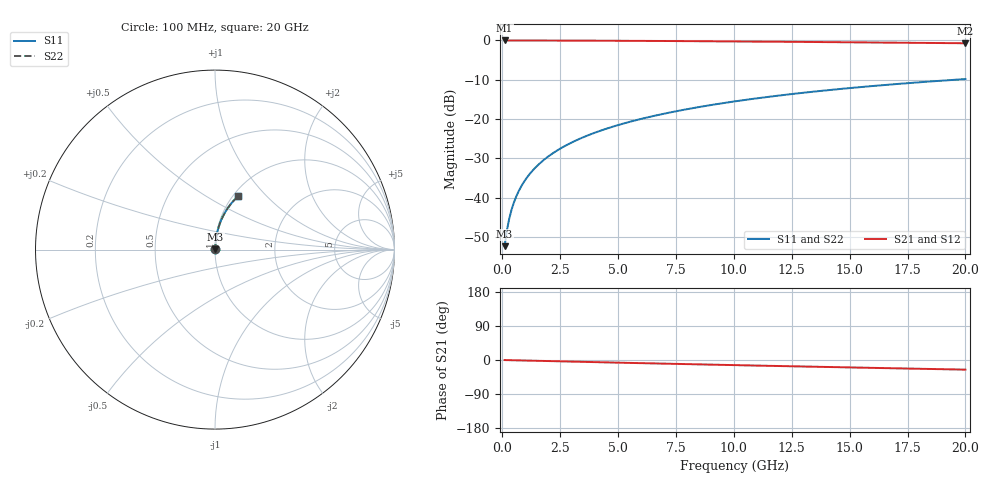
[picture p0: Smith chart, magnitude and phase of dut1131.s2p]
! Touchstone file exported from HFSS 2024.1.0
!  File:  C:/UserFiles/LocalFiles/RDL_TSV_Batchsim/temp_RDL_bottom_1131_1780055253.aedt
!  Generated:  07:50:07 PM May 29, 2026
!  Design:  RDL_bottom
!  Project:  temp_RDL_bottom_1131_1780055253
!  Setup:  Setup1
!  Solution:  Sweep
! Variables:
!  dtsv = 10.80580581um
!  hbump = 3um
!  htsv = 79.17um
!  ldown = 282.34um
!  lrdl = 100um
!  p = 40
!  p1 = 56.73um
!  rhole = 1um
!  t = 450um
!  tdown = 4.97um
!  trdl = 3.915915916um
!  wdown = 12.59um
!  wrdl = 20um
# GHz S MA R 50.000000
! Terminal data exported
! Port[1] = RDL1_T1
! Port[2] = RDL1_T2
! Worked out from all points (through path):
!   200 points, 100 MHz to 20 GHz, reference 50 ohm
!   highest |S21| = -0.01 dB at 100 MHz (marker M1); lowest = -0.7 dB at 20 GHz (marker M2)
!   group delay of S21, straight-line fit = 3.52 ps
!   lowest |S11| = -52.3 dB at 100 MHz (marker M3), VSWR 1.00, Z = 50.2 + j0.173 ohm
!   |S11| at or under -10 dB: start of sweep to 19.57 GHz
!   |S22| runs from -52.3 to -9.8 dB; largest |S21 - S12| = 3.2e-15
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0.1  0.002418 45.5  0.9983 -0.1  0.9983 -0.1  0.002418 45.5
! Gamma 0 0 0 0
! Port Impedance 50 0 50 0
0.2  0.003844 63.2  0.9983 -0.3  0.9983 -0.3  0.003844 63.2
0.3  0.005416 70.8  0.9982 -0.4  0.9982 -0.4  0.005416 70.8
0.4  0.007031 74.9  0.9982 -0.6  0.9982 -0.6  0.007031 74.9
0.5  0.008667 77.5  0.9981 -0.7  0.9981 -0.7  0.008667 77.5
0.6  0.01031 79.3  0.998 -0.9  0.998 -0.9  0.01031 79.3
0.8  0.01363 81.4  0.9979 -1.1  0.9979 -1.1  0.01363 81.4
1.1  0.01863 83.1  0.9976 -1.6  0.9976 -1.6  0.01863 83.1
1.5  0.02532 84.1  0.9972 -2.1  0.9972 -2.1  0.02532 84.1
1.8  0.03034 84.5  0.9968 -2.6  0.9968 -2.6  0.03033 84.5
2.1  0.03535 84.6  0.9964 -3.0  0.9964 -3.0  0.03535 84.6
2.7  0.04538 84.6  0.9953 -3.8  0.9953 -3.8  0.04538 84.6
3.5  0.05874 84.3  0.9936 -4.9  0.9936 -4.9  0.05874 84.3
4.2  0.07043 83.8  0.9918 -5.9  0.9918 -5.9  0.07043 83.8
5  0.08378 83.2  0.9894 -7.0  0.9894 -7.0  0.08378 83.2
5.9  0.09881 82.4  0.9865 -8.2  0.9865 -8.2  0.09881 82.4
6.8  0.1138 81.6  0.9833 -9.4  0.9833 -9.4  0.1138 81.6
8.3  0.1388 80.1  0.9776 -11.3  0.9776 -11.3  0.1388 80.1
10.1  0.1687 78.1  0.97 -13.6  0.97 -13.6  0.1687 78.1
13.4  0.2223 74.4  0.9547 -17.7  0.9547 -17.7  0.2223 74.4
16.7  0.2738 70.5  0.9377 -21.6  0.9377 -21.6  0.2738 70.5
20  0.3223 66.7  0.9194 -25.4  0.9194 -25.4  0.3223 66.7
